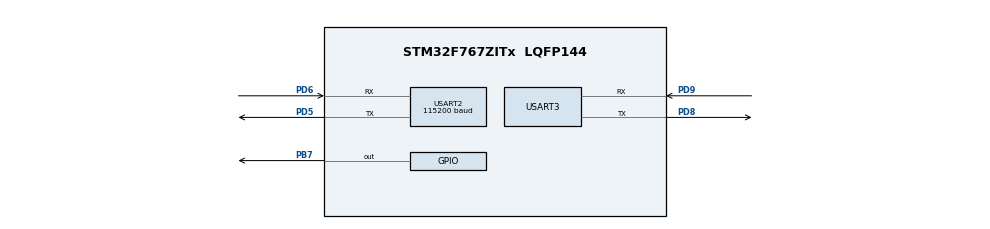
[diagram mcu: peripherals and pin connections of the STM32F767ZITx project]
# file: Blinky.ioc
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Mcu.Family=STM32F7
Mcu.Name=STM32F767ZITx
Mcu.Package=LQFP144
NVIC.PriorityGroup=NVIC_PRIORITYGROUP_4
NVIC.USART2_IRQn=true\:0\:0\:false\:false\:true\:true\:true
PB7.Signal=GPIO_Output
PD5.Mode=Asynchronous
PD5.Signal=USART2_TX
PD6.Mode=Asynchronous
PD6.Signal=USART2_RX
PD8.Mode=Asynchronous
PD8.Signal=USART3_TX
PD9.Mode=Asynchronous
PD9.Signal=USART3_RX
ProjectManager.HeapSize=0x200
ProjectManager.StackSize=0x400
ProjectManager.TargetToolchain=STM32CubeIDE
RCC.HSE_VALUE=25000000
RCC.HSI_VALUE=16000000
RCC.LSE_VALUE=32768
RCC.USBFreq_Value=96000000
RCC.VCOOutputFreq_Value=192000000
USART2.BaudRate=115200
USART2.VirtualMode-Asynchronous=VM_ASYNC
USART3.VirtualMode-Asynchronous=VM_ASYNC
board=custom

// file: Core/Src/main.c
/* USER CODE BEGIN Header */
/**
  ******************************************************************************
  * @file           : main.c
  * @brief          : Main program body
  ******************************************************************************
  * @attention
  *
  * <h2><center>&copy; Copyright (c) 2021 STMicroelectronics.
  * All rights reserved.</center></h2>
  *
  * This software component is licensed by ST under BSD 3-Clause license,
  * the "License"; You may not use this file except in compliance with the
  * License. You may obtain a copy of the License at:
  *                        opensource.org/licenses/BSD-3-Clause
  *
  ******************************************************************************
  */
/* USER CODE END Header */
#include "main.h"

/* USER CODE BEGIN Includes */
#include <stdio.h>
#include <string.h>
#include "etx_ota_update.h"
/* USER CODE END Includes */

/* USER CODE BEGIN PM */
#define MAJOR 0   //APP Major version Number
#define MINOR 4   //APP Minor version Number
/* USER CODE END PM */

UART_HandleTypeDef huart2;
UART_HandleTypeDef huart3;

/* USER CODE BEGIN PV */
const uint8_t APP_Version[2] = { MAJOR, MINOR };
uint8_t rx_buf[4];
/* USER CODE END PV */

void SystemClock_Config(void);
static void MX_GPIO_Init(void);
static void MX_USART3_UART_Init(void);
static void MX_USART2_UART_Init(void);
/* USER CODE BEGIN PFP */
static HAL_StatusTypeDef write_cfg_to_flash( ETX_GNRL_CFG_ *cfg );
/* USER CODE END PFP */

/* USER CODE BEGIN 0 */

void HAL_UART_RxCpltCallback(UART_HandleTypeDef *huart)
{
  if (huart->Instance == USART2)
  {
    if( !strncmp("ota", (char*)rx_buf, 3) )
    {
      printf("Received OTA Request from Mobile Application\r\n");

      /* Update the reboot reason as OTA request */

      /* Read the configuration */
      ETX_GNRL_CFG_ cfg;
      memcpy( &cfg, (ETX_GNRL_CFG_*) (ETX_CONFIG_FLASH_ADDR), sizeof(ETX_GNRL_CFG_) );

      //update the reboot reason
      cfg.reboot_cause = ETX_OTA_REQUEST;

      /* write back the updated config */
      write_cfg_to_flash( &cfg );

      // Reset the controller
      HAL_NVIC_SystemReset();
    }
    else
    {
      HAL_UART_Receive_IT(&huart2, rx_buf, 3);
    }
    memset(rx_buf, 0, sizeof(rx_buf));
  }
}

/* USER CODE END 0 */

int main(void)
{

  /* MCU Configuration--------------------------------------------------------*/

  /* Reset of all peripherals, Initializes the Flash interface and the Systick. */
  HAL_Init();

  /* Configure the system clock */
  SystemClock_Config();

  /* Initialize all configured peripherals */
  MX_GPIO_Init();
  MX_USART3_UART_Init();
  MX_USART2_UART_Init();
  /* USER CODE BEGIN 2 */
  printf("Starting Application(%d.%d)\r\n", APP_Version[0], APP_Version[1] );
  HAL_UART_Receive_IT(&huart2, rx_buf, 3);
  /* USER CODE END 2 */

  /* Infinite loop */
  while (1)
  {

    /* USER CODE BEGIN 3 */
    HAL_GPIO_WritePin( GPIOB, GPIO_PIN_7, GPIO_PIN_SET );
    HAL_Delay(200);    //200ms delay
    HAL_GPIO_WritePin( GPIOB, GPIO_PIN_7, GPIO_PIN_RESET );
    HAL_Delay(200);	  //200ms delay
  }
  /* USER CODE END 3 */
}

void SystemClock_Config(void)
{
  RCC_OscInitTypeDef RCC_OscInitStruct = {0};
  RCC_ClkInitTypeDef RCC_ClkInitStruct = {0};
  RCC_PeriphCLKInitTypeDef PeriphClkInitStruct = {0};

  /** Configure the main internal regulator output voltage
  */
  __HAL_RCC_PWR_CLK_ENABLE();
  __HAL_PWR_VOLTAGESCALING_CONFIG(PWR_REGULATOR_VOLTAGE_SCALE3);
  /** Initializes the RCC Oscillators according to the specified parameters
  * in the RCC_OscInitTypeDef structure.
  */
  RCC_OscInitStruct.OscillatorType = RCC_OSCILLATORTYPE_HSI;
  RCC_OscInitStruct.HSIState = RCC_HSI_ON;
  RCC_OscInitStruct.HSICalibrationValue = RCC_HSICALIBRATION_DEFAULT;
  RCC_OscInitStruct.PLL.PLLState = RCC_PLL_NONE;
  if (HAL_RCC_OscConfig(&RCC_OscInitStruct) != HAL_OK)
  {
    Error_Handler();
  }
  /** Initializes the CPU, AHB and APB buses clocks
  */
  RCC_ClkInitStruct.ClockType = RCC_CLOCKTYPE_HCLK|RCC_CLOCKTYPE_SYSCLK
                              |RCC_CLOCKTYPE_PCLK1|RCC_CLOCKTYPE_PCLK2;
  RCC_ClkInitStruct.SYSCLKSource = RCC_SYSCLKSOURCE_HSI;
  RCC_ClkInitStruct.AHBCLKDivider = RCC_SYSCLK_DIV1;
  RCC_ClkInitStruct.APB1CLKDivider = RCC_HCLK_DIV1;
  RCC_ClkInitStruct.APB2CLKDivider = RCC_HCLK_DIV1;

  if (HAL_RCC_ClockConfig(&RCC_ClkInitStruct, FLASH_LATENCY_0) != HAL_OK)
  {
    Error_Handler();
  }
  PeriphClkInitStruct.PeriphClockSelection = RCC_PERIPHCLK_USART2|RCC_PERIPHCLK_USART3;
  PeriphClkInitStruct.Usart2ClockSelection = RCC_USART2CLKSOURCE_PCLK1;
  PeriphClkInitStruct.Usart3ClockSelection = RCC_USART3CLKSOURCE_PCLK1;
  if (HAL_RCCEx_PeriphCLKConfig(&PeriphClkInitStruct) != HAL_OK)
  {
    Error_Handler();
  }
}

static void MX_USART2_UART_Init(void)
{

  huart2.Instance = USART2;
  huart2.Init.BaudRate = 115200;
  huart2.Init.WordLength = UART_WORDLENGTH_8B;
  huart2.Init.StopBits = UART_STOPBITS_1;
  huart2.Init.Parity = UART_PARITY_NONE;
  huart2.Init.Mode = UART_MODE_TX_RX;
  huart2.Init.HwFlowCtl = UART_HWCONTROL_NONE;
  huart2.Init.OverSampling = UART_OVERSAMPLING_16;
  huart2.Init.OneBitSampling = UART_ONE_BIT_SAMPLE_DISABLE;
  huart2.AdvancedInit.AdvFeatureInit = UART_ADVFEATURE_NO_INIT;
  if (HAL_UART_Init(&huart2) != HAL_OK)
  {
    Error_Handler();
  }

}

static void MX_USART3_UART_Init(void)
{

  huart3.Instance = USART3;
  huart3.Init.BaudRate = 115200;
  huart3.Init.WordLength = UART_WORDLENGTH_8B;
  huart3.Init.StopBits = UART_STOPBITS_1;
  huart3.Init.Parity = UART_PARITY_NONE;
  huart3.Init.Mode = UART_MODE_TX_RX;
  huart3.Init.HwFlowCtl = UART_HWCONTROL_NONE;
  huart3.Init.OverSampling = UART_OVERSAMPLING_16;
  huart3.Init.OneBitSampling = UART_ONE_BIT_SAMPLE_DISABLE;
  huart3.AdvancedInit.AdvFeatureInit = UART_ADVFEATURE_NO_INIT;
  if (HAL_UART_Init(&huart3) != HAL_OK)
  {
    Error_Handler();
  }

}

static void MX_GPIO_Init(void)
{
  GPIO_InitTypeDef GPIO_InitStruct = {0};

  /* GPIO Ports Clock Enable */
  __HAL_RCC_GPIOD_CLK_ENABLE();
  __HAL_RCC_GPIOB_CLK_ENABLE();

  /*Configure GPIO pin Output Level */
  HAL_GPIO_WritePin(GPIOB, GPIO_PIN_7, GPIO_PIN_RESET);

  /*Configure GPIO pin : PB7 */
  GPIO_InitStruct.Pin = GPIO_PIN_7;
  GPIO_InitStruct.Mode = GPIO_MODE_OUTPUT_PP;
  GPIO_InitStruct.Pull = GPIO_NOPULL;
  GPIO_InitStruct.Speed = GPIO_SPEED_FREQ_LOW;
  HAL_GPIO_Init(GPIOB, &GPIO_InitStruct);

}

/* USER CODE BEGIN 4 */
/**
  * @brief Print the characters to UART (printf).
  * @retval int
  */
#ifdef __GNUC__
  /* With GCC, small printf (option LD Linker->Libraries->Small printf
     set to 'Yes') calls __io_putchar() */
int __io_putchar(int ch)
#else
int fputc(int ch, FILE *f)
#endif /* __GNUC__ */
{
  /* Place your implementation of fputc here */
  /* e.g. write a character to the UART3 and Loop until the end of transmission */
  HAL_UART_Transmit(&huart3, (uint8_t *)&ch, 1, HAL_MAX_DELAY);

  return ch;
}

/**
  * @brief Write the configuration to flash
  * @param cfg config structure
  * @retval none
  */
static HAL_StatusTypeDef write_cfg_to_flash( ETX_GNRL_CFG_ *cfg )
{
  HAL_StatusTypeDef ret;

  do
  {
    if( cfg == NULL )
    {
      ret = HAL_ERROR;
      break;
    }

    ret = HAL_FLASH_Unlock();
    if( ret != HAL_OK )
    {
      break;
    }

    //Check if the FLASH_FLAG_BSY.
    FLASH_WaitForLastOperation( HAL_MAX_DELAY );

    //Erase the Flash
    FLASH_EraseInitTypeDef EraseInitStruct;
    uint32_t SectorError;

    EraseInitStruct.TypeErase     = FLASH_TYPEERASE_SECTORS;
    EraseInitStruct.Sector        = FLASH_SECTOR_4;
    EraseInitStruct.NbSectors     = 1;                    //erase only sector 4
    EraseInitStruct.VoltageRange  = FLASH_VOLTAGE_RANGE_3;

    // clear all flags before you write it to flash
    __HAL_FLASH_CLEAR_FLAG(FLASH_FLAG_EOP | FLASH_FLAG_OPERR |
                FLASH_FLAG_WRPERR | FLASH_FLAG_PGAERR | FLASH_FLAG_PGPERR);

    ret = HAL_FLASHEx_Erase( &EraseInitStruct, &SectorError );
    if( ret != HAL_OK )
    {
      break;
    }

    //write the configuration
    uint8_t *data = (uint8_t *) cfg;
    for( uint32_t i = 0u; i < sizeof(ETX_GNRL_CFG_); i++ )
    {
      ret = HAL_FLASH_Program( FLASH_TYPEPROGRAM_BYTE,
                               ETX_CONFIG_FLASH_ADDR + i,
                               data[i]
                             );
      if( ret != HAL_OK )
      {
        printf("Slot table Flash Write Error\r\n");
        break;
      }
    }

    //Check if the FLASH_FLAG_BSY.
    FLASH_WaitForLastOperation( HAL_MAX_DELAY );

    if( ret != HAL_OK )
    {
      break;
    }

    ret = HAL_FLASH_Lock();
    if( ret != HAL_OK )
    {
      break;
    }
  }while( false );

  return ret;
}

/* USER CODE END 4 */

void Error_Handler(void)
{
  __disable_irq();
  while (1)
  {
  }
}

/************************ (C) COPYRIGHT STMicroelectronics *****END OF FILE****/
